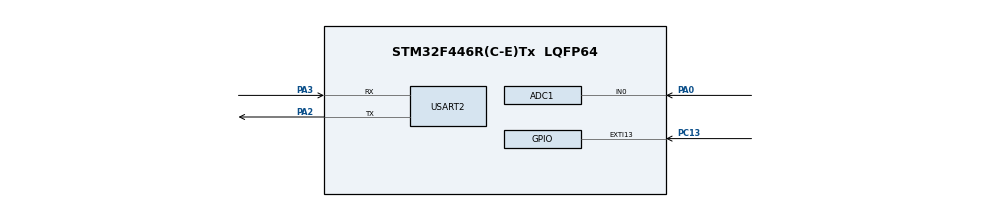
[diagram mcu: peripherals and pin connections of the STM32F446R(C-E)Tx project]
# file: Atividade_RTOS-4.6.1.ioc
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ADC1.Channel-0\#ChannelRegularConversion=ADC_CHANNEL_0
ADC1.NbrOfConversionFlag=1
ADC1.Rank-0\#ChannelRegularConversion=1
ADC1.SamplingTime-0\#ChannelRegularConversion=ADC_SAMPLETIME_3CYCLES
ADC1.master=1
FREERTOS.BinarySemaphores01=semSend,Dynamic,NULL,Available;semCalc,Dynamic,NULL,Available;semSave,Dynamic,NULL,Available;semStartADC,Dynamic,NULL,Available;semStart,Dynamic,NULL,Available
FREERTOS.Tasks01=TaskStartADC,24,128,StartTaskADC,Default,NULL,Dynamic,NULL,NULL;TaskCalc,24,128,StartTaskCalc,Default,NULL,Dynamic,NULL,NULL;TaskSend,24,128,StartSend,Default,NULL,Dynamic,NULL,NULL;TaskSave,24,128,StartTaskSave,Default,NULL,Dynamic,NULL,NULL
FREERTOS.configUSE_NEWLIB_REENTRANT=1
Mcu.Family=STM32F4
Mcu.Name=STM32F446R(C-E)Tx
Mcu.Package=LQFP64
NVIC.EXTI15_10_IRQn=true\:15\:0\:true\:false\:true\:true\:true\:true\:true
NVIC.PriorityGroup=NVIC_PRIORITYGROUP_4
NVIC.TIM1_UP_TIM10_IRQn=true\:15\:0\:false\:false\:true\:false\:false\:true\:true
NVIC.TimeBase=TIM1_UP_TIM10_IRQn
NVIC.TimeBaseIP=TIM1
PA0-WKUP.Signal=ADCx_IN0
PA2.Mode=Asynchronous
PA2.Signal=USART2_TX
PA3.Mode=Asynchronous
PA3.Signal=USART2_RX
PC13.GPIO_PuPd=GPIO_PULLUP
PC13.Signal=GPXTI13
ProjectManager.HeapSize=0x200
ProjectManager.StackSize=0x400
ProjectManager.TargetToolchain=STM32CubeIDE
RCC.CortexFreq_Value=16000000
RCC.USBFreq_Value=96000000
RCC.VCOOutputFreq_Value=192000000
SH.ADCx_IN0.0=ADC1_IN0,IN0
USART2.VirtualMode=VM_ASYNC
VP_FREERTOS_VS_CMSIS_V2.Mode=CMSIS_V2
VP_SYS_VS_tim1.Mode=TIM1
board=custom

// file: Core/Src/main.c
/* USER CODE BEGIN Header */
/**
 ******************************************************************************
 * @file    : main.c
 * @brief   : Main program body - Exemplo de Cadeia de Tasks com Semáforos
 ******************************************************************************
 * @attention
 *
 * Copyright (c) 2025 STMicroelectronics.
 * All rights reserved.
 *
 * This software is licensed under terms that can be found in the LICENSE file
 * in the root directory of this software component.
 * If no LICENSE file comes with this software, it is provided AS-IS.
 *
 ******************************************************************************
 */
/* USER CODE END Header */
#include "main.h"
#include "cmsis_os.h"
#include <stdio.h> // Para snprintf
#include <string.h> // Para strlen

/* USER CODE BEGIN PD */
#define ADC_READINGS 100 // Número de amostras ADC por ciclo
#define HISTORY_SIZE 10 // Tamanho do histórico de mEDIAS
/* USER CODE END PD */

ADC_HandleTypeDef hadc1;
UART_HandleTypeDef huart2;

/* USER CODE BEGIN PV */
// Variáveis globais do seu código
uint16_t bufferADC[ADC_READINGS];
float mediaADC;
float historico[HISTORY_SIZE];
int histIndex = 0;
uint8_t processo_ativo = 0;

// Handles dos semáforos
osSemaphoreId_t semStartHandle;
osSemaphoreId_t semCalcHandle;
osSemaphoreId_t semSaveHandle;
osSemaphoreId_t semSendHandle;

// ##################################################################################
//ATENÇÃO JOVEM PROGRAMADOR QUE ESTÁ LENDO ESSE CÓDIGO : Atributos para as tarefas para definir um tamanho de pilha (stack) adequado.
// O uso de snprintf com floats (%.2f) consome muita pilha, e o tamanho padrão
// do FreeRTOS (configMINIMAL_STACK_SIZE) é geralmente insuficiente, causando um
// "Stack Overflow" que trava a tarefa e quebra a cadeia de execução.
// ##################################################################################

// Tarefas que usam snprintf com float precisam de mais pilha. 512 palavras (2048 bytes) é um bom começo. É BOM PRESTAR ATENÇÃO NISSO, PASSEI UM DIA INTEIRO PRA RESOLVER ISSO
const osThreadAttr_t taskCalc_attributes = {
	.name = "TaskCalc",
	.stack_size = 512 * 4,
	.priority = (osPriority_t) osPriorityNormal,
};

const osThreadAttr_t taskSave_attributes = {
	.name = "TaskSave",
	.stack_size = 512 * 4,
	.priority = (osPriority_t) osPriorityNormal,
};

const osThreadAttr_t taskSend_attributes = {
	.name = "TaskSend",
	.stack_size = 512 * 4,
	.priority = (osPriority_t) osPriorityNormal,
};

// TaskADC não usa snprintf, então uma pilha menor é aceitavel, mas ainda assim é bom definir explicitamente.
const osThreadAttr_t taskADC_attributes = {
	.name = "TaskADC",
	.stack_size = 256 * 4,
	.priority = (osPriority_t) osPriorityNormal,
};
/* USER CODE END PV */

void SystemClock_Config(void);
static void MX_GPIO_Init(void);
static void MX_ADC1_Init(void);
static void MX_USART2_UART_Init(void);
void StartDefaultTask(void *argument);

/* USER CODE BEGIN PFP */
void TaskADC(void *argument);
void TaskCalc(void *argument);
void TaskSave(void *argument);
void TaskSend(void *argument);

void UART_SendString(char *str);
/* USER CODE END PFP */

int main(void)
{

	/* MCU Configuration--------------------------------------------------------*/

	/* Reset of all peripherals, Initializes the Flash interface and the Systick. */
	HAL_Init();

	/* Configure the system clock */
	SystemClock_Config();

	/* Initialize all configured peripherals */
	MX_GPIO_Init();
	MX_ADC1_Init();
	MX_USART2_UART_Init();

	/* Init scheduler */
	osKernelInitialize();

	/* Create the semaphores(s) */
	/* USER CODE BEGIN RTOS_SEMAPHORES */
	// Criação dos semáforos binários (contagem máxima 1, contagem inicial 0)
	semStartHandle = osSemaphoreNew(1, 0, NULL);
	semCalcHandle = osSemaphoreNew(1, 0, NULL);
	semSaveHandle = osSemaphoreNew(1, 0, NULL);
	semSendHandle = osSemaphoreNew(1, 0, NULL);
	/* USER CODE END RTOS_SEMAPHORES */

	/* Create the thread(s) */
	/* USER CODE BEGIN RTOS_THREADS */
	osThreadNew(TaskADC, NULL, &taskADC_attributes);
	osThreadNew(TaskCalc, NULL, &taskCalc_attributes);
	osThreadNew(TaskSave, NULL, &taskSave_attributes);
	osThreadNew(TaskSend, NULL, &taskSend_attributes);
	/* USER CODE END RTOS_THREADS */

	/* Start scheduler */
	osKernelStart();

	/* We should never get here as control is now taken by the scheduler */
	/* Infinite loop */
	while (1)
	{

	}
}

void SystemClock_Config(void)
{
	RCC_OscInitTypeDef RCC_OscInitStruct = {0};
	RCC_ClkInitTypeDef RCC_ClkInitStruct = {0};

	/** Configure the main internal regulator output voltage
	 */
	__HAL_RCC_PWR_CLK_ENABLE();
	__HAL_PWR_VOLTAGESCALING_CONFIG(PWR_REGULATOR_VOLTAGE_SCALE3);

	/** Initializes the RCC Oscillators according to the specified parameters
	 * in the RCC_OscInitTypeDef structure.
	 */
	RCC_OscInitStruct.OscillatorType = RCC_OSCILLATORTYPE_HSI;
	RCC_OscInitStruct.HSIState = RCC_HSI_ON;
	RCC_OscInitStruct.HSICalibrationValue = RCC_HSICALIBRATION_DEFAULT;
	RCC_OscInitStruct.PLL.PLLState = RCC_PLL_NONE;
	if (HAL_RCC_OscConfig(&RCC_OscInitStruct) != HAL_OK)
	{
		Error_Handler();
	}

	/** Initializes the CPU, AHB and APB buses clocks
	 */
	RCC_ClkInitStruct.ClockType = RCC_CLOCKTYPE_HCLK | RCC_CLOCKTYPE_SYSCLK | RCC_CLOCKTYPE_PCLK1 | RCC_CLOCKTYPE_PCLK2;
	RCC_ClkInitStruct.SYSCLKSource = RCC_SYSCLKSOURCE_HSI;
	RCC_ClkInitStruct.AHBCLKDivider = RCC_SYSCLK_DIV1;
	RCC_ClkInitStruct.APB1CLKDivider = RCC_HCLK_DIV1;
	RCC_ClkInitStruct.APB2CLKDivider = RCC_HCLK_DIV1;

	if (HAL_RCC_ClockConfig(&RCC_ClkInitStruct, FLASH_LATENCY_0) != HAL_OK)
	{
		Error_Handler();
	}
}

static void MX_ADC1_Init(void)
{

	ADC_ChannelConfTypeDef sConfig = {0};

	/** Configure the global features of the ADC (Clock, Resolution, Data Alignment and number of conversion)
	 */
	hadc1.Instance = ADC1;
	hadc1.Init.ClockPrescaler = ADC_CLOCK_SYNC_PCLK_DIV2;
	hadc1.Init.Resolution = ADC_RESOLUTION_12B;
	hadc1.Init.ScanConvMode = DISABLE;
	hadc1.Init.ContinuousConvMode = DISABLE;
	hadc1.Init.DiscontinuousConvMode = DISABLE;
	hadc1.Init.ExternalTrigConvEdge = ADC_EXTERNALTRIGCONVEDGE_NONE;
	hadc1.Init.ExternalTrigConv = ADC_SOFTWARE_START;
	hadc1.Init.DataAlign = ADC_DATAALIGN_RIGHT;
	hadc1.Init.NbrOfConversion = 1;
	hadc1.Init.DMAContinuousRequests = DISABLE;
	hadc1.Init.EOCSelection = ADC_EOC_SINGLE_CONV;
	if (HAL_ADC_Init(&hadc1) != HAL_OK)
	{
		Error_Handler();
	}

	/** Configure for the selected ADC regular channel its corresponding rank in the sequencer and its sample time.
	 */
	sConfig.Channel = ADC_CHANNEL_0;
	sConfig.Rank = 1;
	sConfig.SamplingTime = ADC_SAMPLETIME_3CYCLES;
	if (HAL_ADC_ConfigChannel(&hadc1, &sConfig) != HAL_OK)
	{
		Error_Handler();
	}
}

static void MX_USART2_UART_Init(void)
{

	huart2.Instance = USART2;
	huart2.Init.BaudRate = 115200;
	huart2.Init.WordLength = UART_WORDLENGTH_8B;
	huart2.Init.StopBits = UART_STOPBITS_1;
	huart2.Init.Parity = UART_PARITY_NONE;
	huart2.Init.Mode = UART_MODE_TX_RX;
	huart2.Init.HwFlowCtl = UART_HWCONTROL_NONE;
	huart2.Init.OverSampling = UART_OVERSAMPLING_16;
	if (HAL_UART_Init(&huart2) != HAL_OK)
	{
		Error_Handler();
	}
}

static void MX_GPIO_Init(void)
{
	GPIO_InitTypeDef GPIO_InitStruct = {0};

	/* GPIO Ports Clock Enable */
	__HAL_RCC_GPIOC_CLK_ENABLE(); // Para o botão (PC13)
	__HAL_RCC_GPIOA_CLK_ENABLE(); // Para o ADC (PA0)

	/*Configure GPIO pin : PC13 (Botão do usuário) */
	GPIO_InitStruct.Pin = GPIO_PIN_13;
	GPIO_InitStruct.Mode = GPIO_MODE_IT_RISING;
	GPIO_InitStruct.Pull = GPIO_NOPULL;
	HAL_GPIO_Init(GPIOC, &GPIO_InitStruct);

	HAL_NVIC_SetPriority(EXTI15_10_IRQn, 5, 0);
	HAL_NVIC_EnableIRQ(EXTI15_10_IRQn);

}

/* USER CODE BEGIN 4 */
void UART_SendString(char *str)
{
	HAL_UART_Transmit(&huart2, (uint8_t *)str, strlen(str), HAL_MAX_DELAY);
}

void HAL_GPIO_EXTI_Callback(uint16_t GPIO_Pin)
{
	static uint32_t last_interrupt_time = 0;
	uint32_t current_time = HAL_GetTick();

	// Debounce
	if (current_time - last_interrupt_time < 200)
	{ // 200ms de debounce
		return;
	}
	last_interrupt_time = current_time;

	if (GPIO_Pin == GPIO_PIN_13)
	{
		if (processo_ativo == 0)
		{
			processo_ativo = 1;
			UART_SendString("BOTAO PRESSIONADO - INICIANDO CADEIA\r\n");
			osSemaphoreRelease(semStartHandle);
		}
		else
		{
			UART_SendString("PROCESSO JA ATIVO - IGNORANDO BOTAO\r\n");
		}
	}
}

void TaskADC(void *argument)
{
	UART_SendString("---------------------------------\r\n");
	UART_SendString("TaskADC: Iniciada e aguardando...\r\n");
	for (;;)
	{

		osSemaphoreAcquire(semStartHandle, osWaitForever);
		UART_SendString("---------------------------------\r\n");
		UART_SendString("TaskADC: Sinal de inicio recebido, coletando amostras...\r\n");

		//lendo e jogando no buffer o ADC
		for (int i = 0; i < ADC_READINGS; i++)
		{
			HAL_ADC_Start(&hadc1);
			if (HAL_ADC_PollForConversion(&hadc1, 100) == HAL_OK) {
				bufferADC[i] = HAL_ADC_GetValue(&hadc1);
			} else {
				bufferADC[i] = 0;
			}
			HAL_ADC_Stop(&hadc1);

			osDelay(10); // Pequeno delay entre as amostras (simula o tempo de aquisição)
		}

		UART_SendString("TaskADC: Amostras coletadas! Liberando TaskCalc.\r\n");
		// Libera semaforo para próxima tarefa (TaskCalc)
		osSemaphoreRelease(semCalcHandle);
	}
}

void TaskCalc(void *argument)
{
	UART_SendString("---------------------------------\r\n");
	UART_SendString("TaskCalc: Iniciada e aguardando...\r\n");
	for (;;)
	{
		// Aguarda sinal de cálculo (da TaskADC)
		osSemaphoreAcquire(semCalcHandle, osWaitForever);

		UART_SendString("---------------------------------\r\n");
		UART_SendString("TaskCalc: Sinal de calculo recebido, processando...\r\n");

		uint32_t soma = 0;
		for (int i = 0; i < ADC_READINGS; i++)
		{
			soma += bufferADC[i];
		}
		mediaADC = (float)soma / ADC_READINGS;

		char buffer_msg[100];
		snprintf(buffer_msg, sizeof(buffer_msg),
				 "TaskCalc: Media = %.2f (Raw: %lu). Liberando TaskSave.\r\n",
				 mediaADC, (unsigned long)soma);
		UART_SendString(buffer_msg);

		// Libera a próxima tarefa (TaskSave)
		osSemaphoreRelease(semSaveHandle);
	}
}

void TaskSave(void *argument)
{
	UART_SendString("---------------------------------\r\n");
	UART_SendString("TaskSave: Iniciada e aguardando...\r\n");
	for (;;)
	{
		// Aguarda sinal de salvar (da TaskCalc)
		osSemaphoreAcquire(semSaveHandle, osWaitForever);

		UART_SendString("---------------------------------\r\n");
		UART_SendString("TaskSave: Sinal de salvar recebido, armazenando...\r\n");

		// Salva media no historico circular
		historico[histIndex] = mediaADC;
		histIndex = (histIndex + 1) % HISTORY_SIZE;

		char buffer_msg[100];
		snprintf(buffer_msg, sizeof(buffer_msg),
				 "TaskSave: Media %.2f salva no historico[%d]. Liberando TaskSend.\r\n",
				 mediaADC, (histIndex - 1 + HISTORY_SIZE) % HISTORY_SIZE);
		UART_SendString(buffer_msg);

		// Libera a proxima tarefa (TaskSend)
		osSemaphoreRelease(semSendHandle);
	}
}

void TaskSend(void *argument)
{
	char buffer[100];
	UART_SendString("---------------------------------\r\n");
	UART_SendString("TaskSend: Iniciada e aguardando...\r\n");
	for (;;)
	{
		// Aguarda sinal de enviar (da TaskSave)
		osSemaphoreAcquire(semSendHandle, osWaitForever);

		UART_SendString("---------------------------------\r\n");
		UART_SendString("TaskSend: Sinal de envio recebido, enviando dados...\r\n");
		snprintf(buffer, sizeof(buffer), "Media atual: %.2f\r\n", mediaADC);
		UART_SendString(buffer);

		// Imprimir historico completo
		UART_SendString("=== HISTORICO ATUAL ===\r\n");
		for (int i = 0; i < HISTORY_SIZE; i++)
		{
			snprintf(buffer, sizeof(buffer), " [%d]: %.2f\r\n", i, historico[i]);
			UART_SendString(buffer);
		}
		UART_SendString("=======================\r\n");
		UART_SendString("Cadeia de processamento completa. Aguardando proximo botao.\r\n\r\n");

		// Permite que um novo ciclo comece
		processo_ativo = 0;
	}
}

/* USER CODE END 4 */

void HAL_TIM_PeriodElapsedCallback(TIM_HandleTypeDef *htim)
{
	if (htim->Instance == TIM1)
	{
		HAL_IncTick();
	}
}

void Error_Handler(void)
{
	__disable_irq();
	while (1)
	{
	}
}
